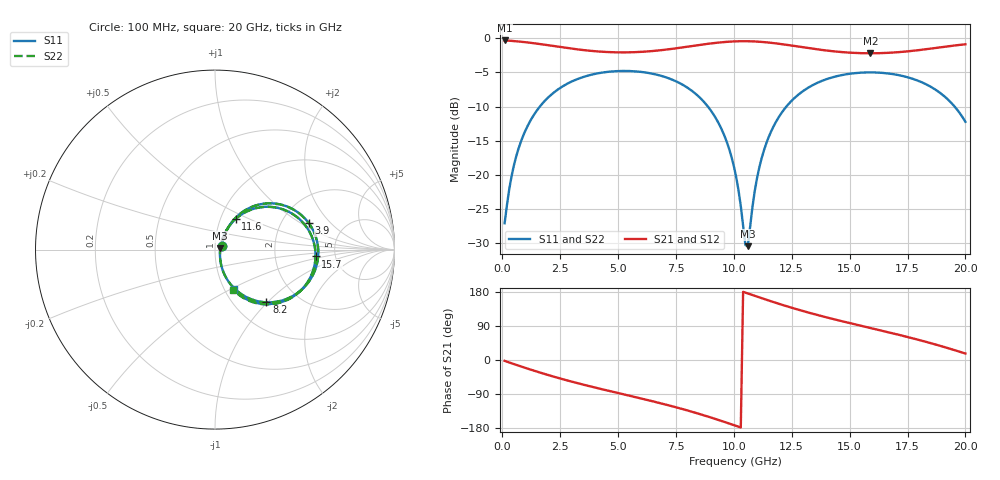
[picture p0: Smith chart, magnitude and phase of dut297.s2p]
! Touchstone file exported from HFSS 2026.1.0
!  File:  C:/ffzhzh/LocalFiles/Ansys_Project_Files/temp_train_TSV_RDL_297_1783088220_33488.aedt
!  Generated:  10:32:00 PM Jul  3, 2026
!  Design:  TSV_RDL
!  Project:  temp_train_TSV_RDL_297_1783088220_33488
! Variables:
!  h_bsmrdl = 2.11um
!  h_ox = 20um
!  h_rdl = 5um
!  h_sub = 66.1um
!  h_tmrdl = 2.49um
!  h_tsv = 66.1um
!  h_via = 3um
!  l_bsmrdl = 500.74um
!  l_sub = 6018.24um
!  l_tmrdl = 996.29um
!  m_sub = 200um
!  pitch = 55.52um
!  r_tsv = 7.79um
!  s_tmrdl = 10um
!  w_bsmrdl = 13.67um
!  w_sub = 500um
!  w_tmrdl = 29.95um
!  x_tsv_center1 = 1011.265um
!  x_tsv_center2 = 1525.675um
!  x_tsv_center3 = 2551.915um
!  x_tsv_center4 = 3066.325um
!  x_tsv_center5 = 4092.565um
!  x_tsv_center6 = 4606.975um
# GHz S MA R 50.000000
! Terminal data exported
! Port[1] = TM_RDL1_1_T1
! Port[2] = TM_RDL5_1_T1
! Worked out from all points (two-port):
!   200 points, 100 MHz to 20 GHz, reference 50 ohm
!   highest |S21| = -0.34 dB at 100 MHz (marker M1); lowest = -2.2 dB at 15.9 GHz (marker M2)
!   |S21| within 3 dB of the highest: start of sweep to end of sweep
!   lowest |S11| = -30.4 dB at 10.6 GHz (marker M3), VSWR 1.06, Z = 53 + j0.67 ohm
!   |S11| at or under -10 dB: start of sweep to 1.624 GHz; 8.878 GHz to 12.27 GHz (3.393 GHz wide, 32.1 % of centre); 19.53 GHz to end of sweep
!   |S22| runs from -30.4 to -4.8 dB; largest |S21 - S12| = 1.6e-14
!   S11 on the Smith chart (normalised r, x): 100 MHz: 1.08, +0.05; 3.9 GHz: 2.83, +1.18; 8.2 GHz: 1.40, -0.99; 11.6 GHz: 1.18, +0.42; 15.7 GHz: 3.51, -0.39; 20 GHz: 1.10, -0.52
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0.1  0.04432 29.4  0.962 -2.2  0.962 -2.2  0.04432 29.4
! Gamma 0 0 0 0
! Port Impedance 50 0 50 0
0.5  0.1172 58.3  0.9521 -10.8  0.9521 -10.8  0.1172 58.3
1.2  0.2468 54.8  0.9257 -24.9  0.9257 -24.9  0.2468 54.8
2.2  0.3972 40.5  0.8765 -43.6  0.8765 -43.6  0.3972 40.5
3.5  0.5202 21.3  0.8181 -65.0  0.8181 -65.0  0.5202 21.3
3.9  0.543 15.7  0.8053 -71.1  0.8053 -71.1  0.543 15.7
5.3  0.5758 -3.4  0.787 -91.5  0.787 -91.5  0.5758 -3.4
6.8  0.5338 -24.3  0.8147 -113.6  0.8147 -113.6  0.5338 -24.3
8.2  0.4107 -45.7  0.876 -136.7  0.876 -136.7  0.4107 -45.7
9.4  0.2286 -64.6  0.9306 -159.5  0.9306 -159.5  0.2286 -64.6
10.1  0.09665 -68.5  0.948 -173.9  0.948 -173.9  0.09672 -68.5
10.5  0.03072 -25.0  0.95 177.8  0.95 177.8  0.03092 -24.9
10.6  0.03014 12.1  0.9496 175.7  0.9496 175.7  0.03035 11.9
11  0.09453 58.3  0.9438 167.3  0.9438 167.3  0.0946 58.1
11.6  0.2062 56.0  0.925 155.1  0.925 155.1  0.2063 55.9
12.4  0.3352 44.2  0.8878 139.7  0.8878 139.7  0.3352 44.1
13.4  0.4529 28.6  0.8376 122.2  0.8376 122.2  0.453 28.5
15.7  0.5614 -3.9  0.7755 87.3  0.7755 87.3  0.5615 -4.0
15.9  0.562 -6.6  0.7751 84.4  0.7751 84.4  0.562 -6.7
16.7  0.551 -17.5  0.7817 72.8  0.7817 72.8  0.551 -17.6
18.5  0.4415 -43.2  0.8384 44.5  0.8384 44.5  0.4414 -43.5
20  0.2447 -65.1  0.9021 17.0  0.9021 17.0  0.2444 -65.6
